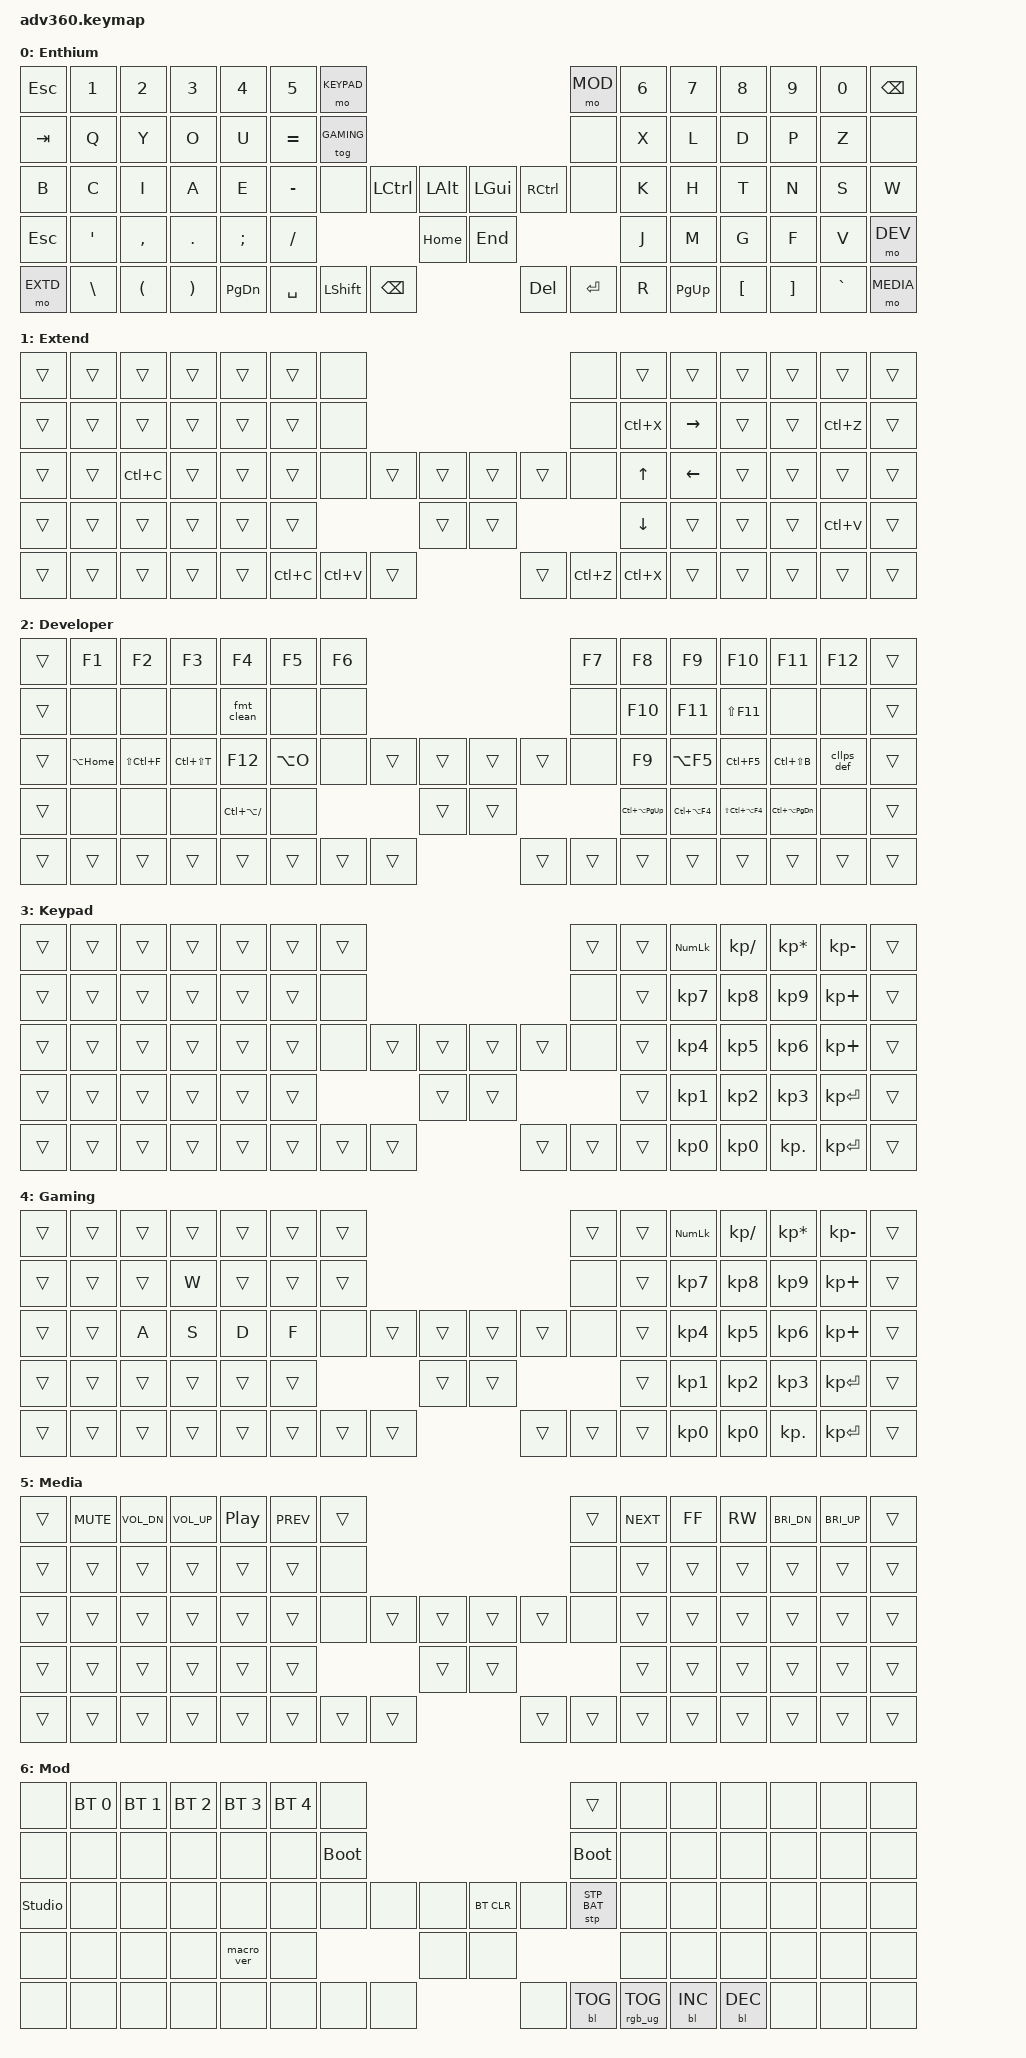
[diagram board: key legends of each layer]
#include <behaviors.dtsi>
#include <dt-bindings/zmk/keys.h>
#include <dt-bindings/zmk/bt.h>
#include <dt-bindings/zmk/rgb.h>
#include <dt-bindings/zmk/stp.h>
#include <dt-bindings/zmk/backlight.h>
#include <dt-bindings/zmk/pointing.h>

#define ___ &trans
#define xxx &none
#define BRWS_BCK &kp LA(LEFT_ARROW)
#define BRWS_FWD &kp LA(RIGHT_ARROW)

// Dev commands (from Visual Studio keymap)
#define BUILD &kp LC(LS(B))
#define DEBUG &kp LA(F5)
#define RUN &kp LC(F5)
#define TOG_BKPT &kp F9
#define STEP_INTO &kp F11
#define STEP_OVER &kp F10
#define STEP_OUT &kp LS(F11)
#define GO_DEF &kp F12
#define FIND_FILE &kp LS(LC(F))
#define GO_SUP &kp LA(HOME)
#define GO_FILE &kp LC(LS(T))
#define SW_HD_SRC &kp LA(O)
#define COMMENT &kp LC(LA(FSLH))
#define RS_FMT &kp LC(LA(ENTER))
#define TB_CLOSE_ALL &kp LC(LA(F4))
#define TB_CLOSE_OTHER &kp LS(LC(LA(F4)))
#define TB_NEXT &kp LC(LA(PG_DN))
#define TB_PREV &kp LC(LA(PG_UP))

#define ENTHIUM 0
#define EXTD 1
#define DEV 2
#define KEYPAD 3
#define GAMING 4
#define MEDIA 5
#define MOD 6

/ {
    behaviors {
      #include "macros.dtsi"
      #include "version.dtsi"

      hm: homerow_mods {
          compatible = "zmk,behavior-hold-tap";
          label = "HOMEROW_MODS";
          #binding-cells = <2>;
          tapping-term-ms = <200>;
          quick_tap_ms = <175>;
          flavor = "tap-preferred";
          bindings = <&kp>, <&kp>;
      };

      // Dev macros
      fmt_clean: fmt_clean {
        compatible = "zmk,behavior-macro";
        label = "format and clean";
        #binding-cells = <0>;
        bindings = <&macro_press &kp LC(E)>, <&macro_tap &kp C>, <&macro_release &kp LC(E)>;
      };

      cllps_def: cllps_def {
        compatible = "zmk,behavior-macro";
        label = "collapse to definitions";
        #binding-cells = <0>;
        bindings = <&macro_press &kp LC(M)>, <&macro_tap &kp O>, <&macro_release &kp LC(M)>;
      };
    };

  keymap {
    compatible = "zmk,keymap";

    enthium {
      display-name = "Enthium";
      bindings = <
        &kp ESC   &kp N1    &kp N2    &kp N3   &kp N4    &kp N5    &mo KEYPAD                                                &mo MOD &kp N6 &kp N7    &kp N8       &kp N9         &kp N0      &kp BSPC
        &kp TAB   &kp Q     &kp Y     &kp O    &kp U     &kp EQUAL &tog GAMING                                               xxx     &kp X  &kp L     &kp D        &kp P          &kp Z       xxx
        &kp B     &kp C     &kp I     &kp A    &kp E     &kp MINUS xxx           &kp LCTRL &kp LALT &kp LGUI &kp RCTRL       xxx     &kp K  &kp H     &kp T        &kp N          &kp S       &kp W
        &kp ESC   &kp SQT   &kp COMMA &kp DOT  &kp SEMI  &kp FSLH                          &kp HOME &kp END                          &kp J  &kp M     &kp G        &kp F          &kp V       &mo DEV
        &mo EXTD  &kp BSLH  &kp LPAR  &kp RPAR &kp PG_DN              &kp SPACE &kp LSHIFT &kp BSPC &kp DEL  &kp ENTER &kp R                &kp PG_UP &kp LBKT     &kp RBKT       &kp GRAVE   &mo MEDIA
      >;
    };
    extend {
      display-name = "Extend";
      bindings = <
        ___   ___   ___       ___   ___   ___    xxx                                             xxx   ___       ___        ___   ___    ___       ___
        ___   ___   ___       ___   ___   ___    xxx                                             xxx   &kp LC(X) &kp RIGHT  ___   ___    &kp LC(Z) ___
        ___   ___   &kp LC(C) ___   ___   ___    xxx          ___   ___   ___   ___              xxx   &kp UP    &kp LEFT   ___   ___    ___       ___
        ___   ___   ___       ___   ___   ___                       ___   ___                          &kp DOWN  ___        ___   ___    &kp LC(V) ___
        ___   ___   ___       ___   ___        &kp LC(C) &kp LC(V)  ___   ___   &kp LC(Z) &kp LC(X)              ___        ___   ___    ___       ___
      >;
    };
    dev {
      display-name = "Developer";
      bindings = <
        ___       &kp F1    &kp F2    &kp F3    &kp F4    &kp F5      &kp F6                                       &kp F7  &kp F8    &kp F9    &kp F10   &kp F11   &kp F12     ___
        ___       xxx       xxx       xxx       &fmt_clean xxx        xxx                                          xxx     STEP_OVER STEP_INTO STEP_OUT  xxx       xxx         ___
        ___       GO_SUP    FIND_FILE GO_FILE   GO_DEF    SW_HD_SRC   xxx       ___    ___    ___    ___           xxx     TOG_BKPT  DEBUG     RUN       BUILD     &cllps_def  ___
        ___       xxx       xxx       xxx       COMMENT   xxx                          ___    ___                          TB_PREV TB_CLOSE_ALL TB_CLOSE_OTHER TB_NEXT xxx     ___
        ___       ___       ___       ___       ___                      ___    ___    ___    ___    ___    ___                      ___       ___       ___       ___         ___
      >;
    };
    keypad {
      display-name = "Keypad";
      bindings = <
        ___       ___       ___      ___      ___        ___    ___                                                              ___   ___    &kp KP_NUM &kp KP_DIVIDE &kp KP_MULTIPLY &kp KP_MINUS   ___
        ___       ___       ___      ___      ___        ___    xxx                                                              xxx   ___    &kp KP_N7  &kp KP_N8     &kp KP_N9       &kp KP_PLUS    ___
        ___       ___       ___      ___      ___        ___    xxx             ___       ___      ___       ___                 xxx   ___    &kp KP_N4  &kp KP_N5     &kp KP_N6       &kp KP_PLUS    ___
        ___       ___       ___      ___      ___        ___                              ___      ___                                 ___    &kp KP_N1  &kp KP_N2     &kp KP_N3       &kp KP_ENTER   ___
        ___       ___       ___      ___      ___                      ___      ___       ___      ___       ___       ___                    &kp KP_N0  &kp KP_N0     &kp KP_DOT      &kp KP_ENTER   ___
      >;
    };
    gaming {
      display-name = "Gaming";
      bindings = <
        ___       ___       ___      ___      ___        ___    ___                                                              ___   ___    &kp KP_NUM &kp KP_DIVIDE &kp KP_MULTIPLY &kp KP_MINUS   ___
        ___       ___       ___      &kp W    ___        ___    ___                                                              xxx   ___    &kp KP_N7  &kp KP_N8     &kp KP_N9       &kp KP_PLUS    ___
        ___       ___       &kp A    &kp S    &kp D      &kp F  xxx             ___       ___      ___       ___                 xxx   ___    &kp KP_N4  &kp KP_N5     &kp KP_N6       &kp KP_PLUS    ___
        ___       ___       ___      ___      ___        ___                              ___      ___                                 ___    &kp KP_N1  &kp KP_N2     &kp KP_N3       &kp KP_ENTER   ___
        ___       ___       ___      ___      ___                      ___      ___       ___      ___       ___       ___                    &kp KP_N0  &kp KP_N0     &kp KP_DOT      &kp KP_ENTER   ___
      >;
    };
    media {
      display-name = "Media";
      bindings = <
        ___  &kp C_MUTE &kp C_VOL_DN &kp C_VOL_UP &kp C_PP &kp C_PREV ___                                              ___  &kp C_NEXT &kp C_FF &kp C_RW &kp C_BRI_DN &kp C_BRI_UP  ___
        ___  ___        ___          ___          ___      ___        xxx                                              xxx  ___        ___      ___      ___          ___           ___
        ___  ___        ___          ___          ___      ___        xxx           ___    ___    ___    ___           xxx  ___        ___      ___      ___          ___           ___
        ___  ___        ___          ___          ___      ___                             ___    ___                       ___        ___      ___      ___          ___           ___
        ___  ___        ___          ___          ___                        ___    ___    ___    ___    ___    ___                    ___      ___      ___          ___           ___
      >;
    };
    mod {
      display-name = "Mod";
      bindings = <
        xxx   &bt BT_SEL 0 &bt BT_SEL 1 &bt BT_SEL 2 &bt BT_SEL 3 &bt BT_SEL 4 xxx                                                                       ___                    xxx          xxx          xxx          xxx   xxx   xxx
        xxx   xxx          xxx          xxx          xxx          xxx          &bootloader                                                               &bootloader            xxx          xxx          xxx          xxx   xxx   xxx
        &studio_unlock     xxx          xxx          xxx          xxx          xxx          xxx        xxx   xxx   &bt BT_CLR xxx                        &stp STP_BAT           xxx          xxx          xxx          xxx   xxx   xxx
        xxx   xxx          xxx          xxx          &macro_ver   xxx                                        xxx   xxx                                                          xxx          xxx          xxx          xxx   xxx   xxx
        xxx   xxx          xxx          xxx          xxx                                         xxx   xxx   xxx   xxx        &bl BL_TOG &rgb_ug RGB_TOG                                     &bl BL_INC   &bl BL_DEC   xxx   xxx   xxx
      >;
    };
    extra1 {
      display-name = "Red";
      status = "reserved";
    };

    extra2 {
      display-name = "Purple";
      status = "reserved";
    };

    extra3 {
      display-name = "Cyan";
      status = "reserved";
    };

    extra4 {
      display-name = "Yellow";
      status = "reserved";
    };
  };
};
